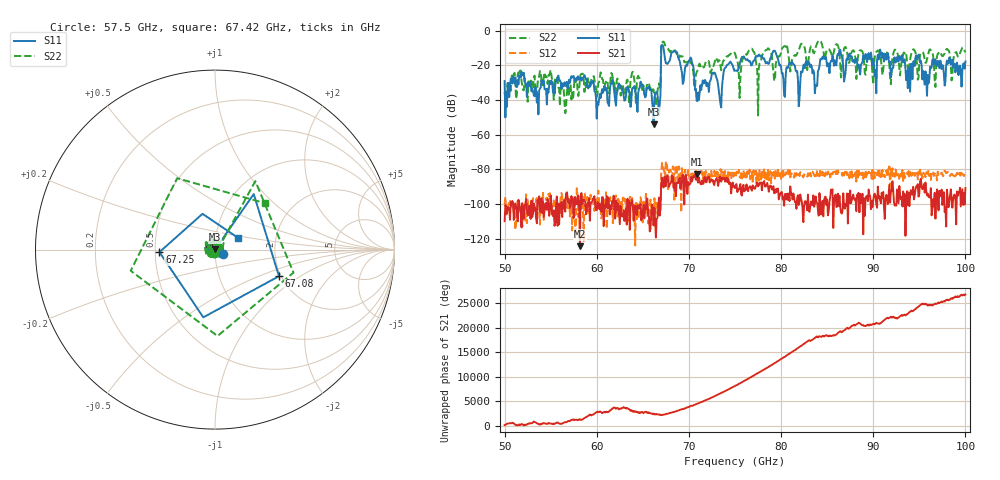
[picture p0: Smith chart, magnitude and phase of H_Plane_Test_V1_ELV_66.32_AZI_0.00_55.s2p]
! 11/27/2026 8:38:36 AM
! C:\ANRITSUVNA\TEMP\TEMP.S2P
! CHANNEL.1
! TR.MEASUREMENT
! RAW.DATA
# HZ S RI R 50.0
! FREQ.HZ  S11RE  S11IM  S21RE  S21IM  S12RE  S12IM  S22RE  S22IM
!; PortSelection: Port_12
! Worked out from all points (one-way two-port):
!   601 points, 50 GHz to 100 GHz, reference 50 ohm
!   highest |S21| = -82.71 dB at 70.83 GHz (marker M1); lowest = -124.3 dB at 58.17 GHz (marker M2)
!   lowest |S11| = -53.9 dB at 66.17 GHz (marker M3), VSWR 1.00, Z = 50.1 + j0.147 ohm
!   |S11| at or under -10 dB: start of sweep to 67 GHz; 67.24 GHz to end of sweep
!   |S22| runs from -48.9 to -5.6 dB; largest |S21 - S12| = 0.0002
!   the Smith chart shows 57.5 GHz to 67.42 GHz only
!   S11 on the Smith chart (normalised r, x): 57.5 GHz: 1.09, -0.05; 67.08 GHz: 1.95, -0.68; 67.25 GHz: 0.53, -0.02; 67.42 GHz: 1.29, +0.17
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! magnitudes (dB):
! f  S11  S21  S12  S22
! 50 GHz  -29.0  -109.9  -100.2  -35.3
! 57.5 GHz  -26.1  -108.1  -101.2  -34.5
! 58.17 GHz  -27.3  -124.3  -102.7  -28.8
! 58.42 GHz  -27.1  -100.0  -95.6  -24.8
! 60.17 GHz  -42.9  -99.6  -92.3  -30.1
! 66.17 GHz  -53.9  -112.4  -111.9  -34.0
! 66.67 GHz  -41.8  -101.9  -99.1  -31.6
! 67.08 GHz  -8.3  -84.9  -76.3  -6.8
! 67.25 GHz  -10.2  -90.5  -80.1  -6.3
! 67.42 GHz  -16.7  -84.8  -84.9  -8.4
! 70.17 GHz  -15.5  -88.1  -83.5  -18.6
! 70.83 GHz  -40.2  -82.7  -81.9  -24.0
! 75 GHz  -23.1  -90.8  -82.9  -13.0
! 77.58 GHz  -13.8  -89.2  -86.6  -21.7
! 78.5 GHz  -18.2  -87.8  -85.8  -10.8
! 79.33 GHz  -11.7  -91.6  -86.1  -28.8
! 80.25 GHz  -28.0  -95.7  -80.8  -9.4
! 83.42 GHz  -24.6  -100.6  -81.4  -10.8
! 91.67 GHz  -16.7  -94.4  -82.9  -15.2
! 94.83 GHz  -14.8  -88.5  -85.8  -28.3
! 95.83 GHz  -37.6  -95.0  -82.4  -16.4
! 100 GHz  -17.8  -90.7  -83.4  -12.5
